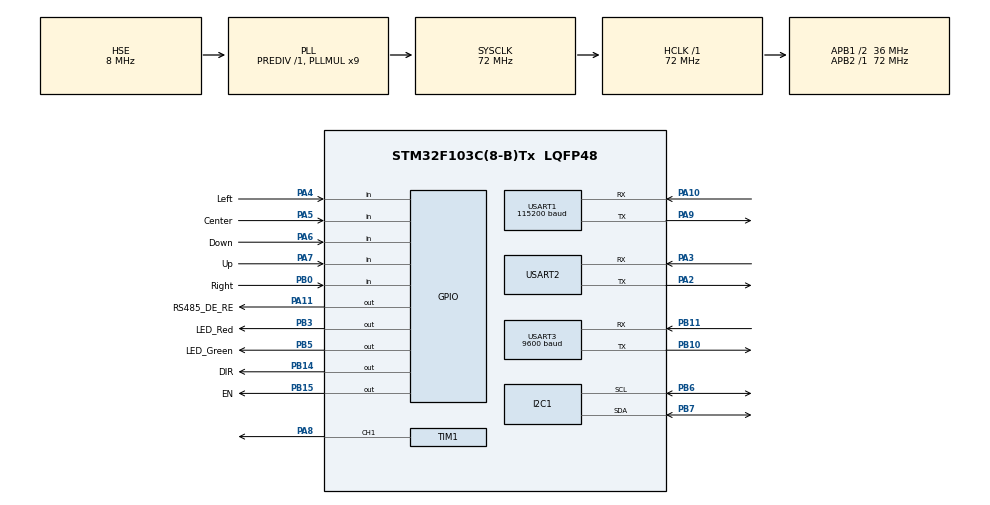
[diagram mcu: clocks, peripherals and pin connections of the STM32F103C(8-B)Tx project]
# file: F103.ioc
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Dma.Request0=USART3_RX
Dma.Request1=USART3_TX
Dma.Request2=USART2_RX
Dma.Request3=USART2_TX
Dma.USART2_RX.2.Direction=DMA_PERIPH_TO_MEMORY
Dma.USART2_RX.2.Instance=DMA1_Channel6
Dma.USART2_RX.2.MemDataAlignment=DMA_MDATAALIGN_BYTE
Dma.USART2_RX.2.MemInc=DMA_MINC_ENABLE
Dma.USART2_RX.2.Mode=DMA_NORMAL
Dma.USART2_RX.2.PeriphDataAlignment=DMA_PDATAALIGN_BYTE
Dma.USART2_RX.2.PeriphInc=DMA_PINC_DISABLE
Dma.USART2_RX.2.Priority=DMA_PRIORITY_LOW
Dma.USART2_TX.3.Direction=DMA_MEMORY_TO_PERIPH
Dma.USART2_TX.3.Instance=DMA1_Channel7
Dma.USART2_TX.3.MemDataAlignment=DMA_MDATAALIGN_BYTE
Dma.USART2_TX.3.MemInc=DMA_MINC_ENABLE
Dma.USART2_TX.3.Mode=DMA_NORMAL
Dma.USART2_TX.3.PeriphDataAlignment=DMA_PDATAALIGN_BYTE
Dma.USART2_TX.3.PeriphInc=DMA_PINC_DISABLE
Dma.USART2_TX.3.Priority=DMA_PRIORITY_LOW
Dma.USART3_RX.0.Direction=DMA_PERIPH_TO_MEMORY
Dma.USART3_RX.0.Instance=DMA1_Channel3
Dma.USART3_RX.0.MemDataAlignment=DMA_MDATAALIGN_BYTE
Dma.USART3_RX.0.MemInc=DMA_MINC_ENABLE
Dma.USART3_RX.0.Mode=DMA_NORMAL
Dma.USART3_RX.0.PeriphDataAlignment=DMA_PDATAALIGN_BYTE
Dma.USART3_RX.0.PeriphInc=DMA_PINC_DISABLE
Dma.USART3_RX.0.Priority=DMA_PRIORITY_LOW
Dma.USART3_TX.1.Direction=DMA_MEMORY_TO_PERIPH
Dma.USART3_TX.1.Instance=DMA1_Channel2
Dma.USART3_TX.1.MemDataAlignment=DMA_MDATAALIGN_BYTE
Dma.USART3_TX.1.MemInc=DMA_MINC_ENABLE
Dma.USART3_TX.1.Mode=DMA_NORMAL
Dma.USART3_TX.1.PeriphDataAlignment=DMA_PDATAALIGN_BYTE
Dma.USART3_TX.1.PeriphInc=DMA_PINC_DISABLE
Dma.USART3_TX.1.Priority=DMA_PRIORITY_LOW
I2C1.OwnAddress=0x78
Mcu.Family=STM32F1
Mcu.Name=STM32F103C(8-B)Tx
Mcu.Package=LQFP48
NVIC.DMA1_Channel2_IRQn=true\:0\:0\:false\:false\:true\:false\:true
NVIC.DMA1_Channel3_IRQn=true\:0\:0\:false\:false\:true\:false\:true
NVIC.DMA1_Channel6_IRQn=true\:0\:0\:false\:false\:true\:false\:true
NVIC.DMA1_Channel7_IRQn=true\:0\:0\:false\:false\:true\:false\:true
NVIC.PriorityGroup=NVIC_PRIORITYGROUP_4
NVIC.TIM1_CC_IRQn=true\:1\:0\:true\:false\:true\:true\:true
NVIC.USART2_IRQn=true\:3\:0\:true\:false\:true\:true\:true
NVIC.USART3_IRQn=true\:2\:0\:true\:false\:true\:true\:true
PA10.GPIO_PuPd=GPIO_PULLUP
PA10.Mode=Asynchronous
PA10.Signal=USART1_RX
PA11.GPIO_Label=RS485_DE_RE
PA11.GPIO_Speed=GPIO_SPEED_FREQ_MEDIUM
PA11.Signal=GPIO_Output
PA13.Mode=Serial_Wire
PA13.Signal=SYS_JTMS-SWDIO
PA14.Mode=Serial_Wire
PA14.Signal=SYS_JTCK-SWCLK
PA2.Mode=Asynchronous
PA2.Signal=USART2_TX
PA3.Mode=Asynchronous
PA3.Signal=USART2_RX
PA4.GPIO_Label=Left
PA4.GPIO_PuPd=GPIO_PULLUP
PA4.Signal=GPIO_Input
PA5.GPIO_Label=Center
PA5.GPIO_PuPd=GPIO_PULLUP
PA5.Signal=GPIO_Input
PA6.GPIO_Label=Down
PA6.GPIO_PuPd=GPIO_PULLUP
PA6.Signal=GPIO_Input
PA7.GPIO_Label=Up
PA7.GPIO_PuPd=GPIO_PULLUP
PA7.Signal=GPIO_Input
PA8.GPIO_Speed=GPIO_SPEED_FREQ_HIGH
PA8.Signal=S_TIM1_CH1
PA9.Mode=Asynchronous
PA9.Signal=USART1_TX
PB0.GPIO_Label=Right
PB0.GPIO_PuPd=GPIO_PULLUP
PB0.Signal=GPIO_Input
PB10.Mode=Asynchronous
PB10.Signal=USART3_TX
PB11.GPIO_PuPd=GPIO_PULLUP
PB11.Mode=Asynchronous
PB11.Signal=USART3_RX
PB14.GPIO_Label=DIR
PB14.Signal=GPIO_Output
PB15.GPIO_Label=EN
PB15.Signal=GPIO_Output
PB3.GPIO_Label=LED_Red
PB3.Signal=GPIO_Output
PB5.GPIO_Label=LED_Green
PB5.Signal=GPIO_Output
PB6.Mode=I2C
PB6.Signal=I2C1_SCL
PB7.Mode=I2C
PB7.Signal=I2C1_SDA
PD0-OSC_IN.Mode=HSE-External-Oscillator
PD0-OSC_IN.Signal=RCC_OSC_IN
PD1-OSC_OUT.Mode=HSE-External-Oscillator
PD1-OSC_OUT.Signal=RCC_OSC_OUT
ProjectManager.HeapSize=0x200
ProjectManager.StackSize=0x400
ProjectManager.TargetToolchain=MDK-ARM V5.32
RCC.AHBFreq_Value=72000000
RCC.APB1CLKDivider=RCC_HCLK_DIV2
RCC.APB1Freq_Value=36000000
RCC.APB1TimFreq_Value=72000000
RCC.APB2Freq_Value=72000000
RCC.APB2TimFreq_Value=72000000
RCC.HCLKFreq_Value=72000000
RCC.PLLMUL=RCC_PLL_MUL9
RCC.PLLSourceVirtual=RCC_PLLSOURCE_HSE
RCC.SYSCLKFreq_VALUE=72000000
RCC.SYSCLKSource=RCC_SYSCLKSOURCE_PLLCLK
RCC.USBFreq_Value=72000000
SH.S_TIM1_CH1.0=TIM1_CH1,Output Compare1 CH1
TIM1.Channel-Output\ Compare1\ CH1=TIM_CHANNEL_1
TIM1.OCMode_1=TIM_OCMODE_TOGGLE
TIM1.Prescaler=119
TIM1.Pulse-Output\ Compare1\ CH1=3000
USART1.BaudRate=115200
USART1.VirtualMode=VM_ASYNC
USART2.VirtualMode=VM_ASYNC
USART3.BaudRate=9600
USART3.VirtualMode=VM_ASYNC
board=custom

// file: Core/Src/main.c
/* USER CODE BEGIN Header */
/**
 ******************************************************************************
 * @file           : main.c
 * @brief          : Main program body
 ******************************************************************************
 * @attention
 *
 * <h2><center>&copy; Copyright (c) 2022 STMicroelectronics.
 * All rights reserved.</center></h2>
 *
 * This software component is licensed by ST under BSD 3-Clause license,
 * the "License"; You may not use this file except in compliance with the
 * License. You may obtain a copy of the License at:
 *                        opensource.org/licenses/BSD-3-Clause
 *
 ******************************************************************************
 */
/* USER CODE END Header */
#include "main.h"
#include "dma.h"
#include "i2c.h"
#include "tim.h"
#include "usart.h"
#include "gpio.h"

/* USER CODE BEGIN Includes */
#include "HT4315.h"
#include "StepMotor.h"
#include "ForceSensor.h"
#include "key.h"
#include "oled.h"
/* USER CODE END Includes */

/* USER CODE BEGIN PTD */
#define TXDCYCLE 1000   // 数据发送周期;单位：ms
#define SAMPLING 0x01 // 采样标记
#define TXD 0x02      // 发送数据标记
/* USER CODE END PTD */

/* USER CODE BEGIN PV */
__IO uint8_t Time_Flag = 0; // 任务时间标记
__IO extern uint8_t Force_Angle;
/* USER CODE END PV */

void SystemClock_Config(void);

int main(void)
{

  /* MCU Configuration--------------------------------------------------------*/

  /* Reset of all peripherals, Initializes the Flash interface and the Systick. */
  HAL_Init();

  /* Configure the system clock */
  SystemClock_Config();

  /* Initialize all configured peripherals */
  MX_GPIO_Init();
  MX_TIM1_Init();
	MX_DMA_Init();
  MX_USART1_UART_Init();
  MX_USART2_UART_Init();
  MX_USART3_UART_Init();
  MX_I2C1_Init();
  /* USER CODE BEGIN 2 */
  MotorDisable(); // 停机
  HAL_TIM_Base_Start(&htim1);
  HAL_TIM_OC_Start_IT(&htim1, TIM_CHANNEL_1);
  bsp_InitKeyVar();
  PID_init();
	OLED_Init();
  OLED_Clear();
	OLED_ShowString(0, 0, "Up:   PID ", 16);
	OLED_ShowString(0, 2, "Down: Motor ", 16);
	OLED_ShowString(0, 4, "Left: Dir ", 16);
  /* USER CODE END 2 */

  /* Infinite loop */
  while (1)
  {

    /* USER CODE BEGIN 3 */
    bsp_KeyScan();
    StempMotorStateCtrol();
    if (recv_end_flag) //收到来自USB转串口的命令数据
    {
      vParseString(rx_buffer);
      restartRev1();
    }
    // 采样和控制周期为20ms
    if (Time_Flag & SAMPLING)
    {
      getSensor();
      Time_Flag &= ~SAMPLING;
    }
    if (recv_end_flag2) //收到力传感器的数据
    {
      StempMotorPIDCtrol(vParseSensor());
      restartRev2();
    }
		if(Time_Flag & TXD)
		{
			int16_t var[6] = {0};
			Read_Motor_angle(var);
			var[4]=getRealForce();
			var[5] = GetSetForce();
      vcan_sendware((uint8_t *)var, sizeof(var));
			Time_Flag &= ~TXD;
		}
  }
  /* USER CODE END 3 */
}

void SystemClock_Config(void)
{
  RCC_OscInitTypeDef RCC_OscInitStruct = {0};
  RCC_ClkInitTypeDef RCC_ClkInitStruct = {0};

  /** Initializes the RCC Oscillators according to the specified parameters
  * in the RCC_OscInitTypeDef structure.
  */
  RCC_OscInitStruct.OscillatorType = RCC_OSCILLATORTYPE_HSE;
  RCC_OscInitStruct.HSEState = RCC_HSE_ON;
  RCC_OscInitStruct.HSEPredivValue = RCC_HSE_PREDIV_DIV1;
  RCC_OscInitStruct.HSIState = RCC_HSI_ON;
  RCC_OscInitStruct.PLL.PLLState = RCC_PLL_ON;
  RCC_OscInitStruct.PLL.PLLSource = RCC_PLLSOURCE_HSE;
  RCC_OscInitStruct.PLL.PLLMUL = RCC_PLL_MUL9;
  if (HAL_RCC_OscConfig(&RCC_OscInitStruct) != HAL_OK)
  {
    Error_Handler();
  }
  /** Initializes the CPU, AHB and APB buses clocks
  */
  RCC_ClkInitStruct.ClockType = RCC_CLOCKTYPE_HCLK|RCC_CLOCKTYPE_SYSCLK
                              |RCC_CLOCKTYPE_PCLK1|RCC_CLOCKTYPE_PCLK2;
  RCC_ClkInitStruct.SYSCLKSource = RCC_SYSCLKSOURCE_PLLCLK;
  RCC_ClkInitStruct.AHBCLKDivider = RCC_SYSCLK_DIV1;
  RCC_ClkInitStruct.APB1CLKDivider = RCC_HCLK_DIV2;
  RCC_ClkInitStruct.APB2CLKDivider = RCC_HCLK_DIV1;

  if (HAL_RCC_ClockConfig(&RCC_ClkInitStruct, FLASH_LATENCY_2) != HAL_OK)
  {
    Error_Handler();
  }
}

/* USER CODE BEGIN 4 */
void HAL_SYSTICK_Callback(void)
{
  __IO static uint16_t time_count = 0; // 时间计数，每1ms增加一(与滴答定时器频率有关)
  // 每1ms自动增一
  time_count++;
  if (time_count % (SAMPLING_PERIOD) == 0) // 20ms读取一次力传感器数值
  {
    Time_Flag |= SAMPLING;
  }
  else if (time_count >= TXDCYCLE) // 40ms发送一次数据
  {
    Time_Flag |= TXD;
    time_count = 0;
  }
}
/* USER CODE END 4 */

void Error_Handler(void)
{
  __disable_irq();
  while (1)
  {
  }
}

/************************ (C) COPYRIGHT STMicroelectronics *****END OF FILE****/
